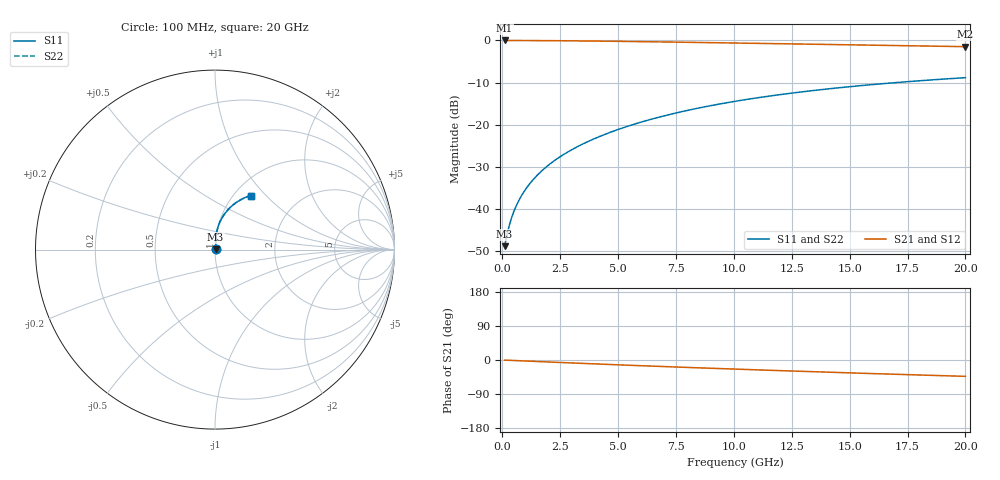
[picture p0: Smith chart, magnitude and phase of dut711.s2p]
! Touchstone file exported from HFSS 2024.1.0
!  File:  C:/UserFiles/LocalFiles/RDL_TSV_Batchsim/temp_RDL_bottom_711_1779858022.aedt
!  Generated:  01:03:13 PM May 27, 2026
!  Design:  RDL_bottom
!  Project:  temp_RDL_bottom_711_1779858022
!  Setup:  Setup1
!  Solution:  Sweep
! Variables:
!  dtsv = 10.80580581um
!  hbump = 3um
!  htsv = 96.74um
!  ldown = 607.72um
!  lrdl = 100um
!  p = 40
!  p1 = 53.82um
!  rhole = 1um
!  t = 450um
!  tdown = 2.89um
!  trdl = 3.915915916um
!  wdown = 26.15um
!  wrdl = 20um
# GHz S MA R 50.000000
! Terminal data exported
! Port[1] = RDL1_T1
! Port[2] = RDL1_T2
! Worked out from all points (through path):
!   200 points, 100 MHz to 20 GHz, reference 50 ohm
!   highest |S21| = -0.03 dB at 100 MHz (marker M1); lowest = -1.5 dB at 20 GHz (marker M2)
!   group delay of S21, straight-line fit = 5.94 ps
!   lowest |S11| = -48.8 dB at 100 MHz (marker M3), VSWR 1.01, Z = 50.3 + j0.188 ohm
!   |S11| at or under -10 dB: start of sweep to 17.02 GHz
!   |S22| runs from -48.8 to -8.8 dB; largest |S21 - S12| = 5e-15
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0.1  0.003638 30.9  0.9969 -0.3  0.9969 -0.3  0.003638 30.9
! Gamma 0 0 0 0
! Port Impedance 50 0 50 0
0.2  0.004912 48.3  0.9967 -0.6  0.9967 -0.6  0.004912 48.3
0.3  0.006382 57.4  0.9965 -0.8  0.9965 -0.8  0.006382 57.4
0.4  0.007887 62.9  0.9962 -1.1  0.9962 -1.1  0.007887 62.9
0.5  0.009395 66.7  0.996 -1.4  0.996 -1.4  0.009395 66.7
0.6  0.01091 69.6  0.9958 -1.6  0.9958 -1.6  0.01091 69.6
0.8  0.01397 73.7  0.9954 -2.1  0.9954 -2.1  0.01397 73.7
1.1  0.01865 77.6  0.9947 -2.9  0.9947 -2.9  0.01865 77.6
1.3  0.02183 79.4  0.9941 -3.4  0.9941 -3.4  0.02183 79.4
1.6  0.02669 81.3  0.9932 -4.2  0.9932 -4.2  0.02669 81.3
2.1  0.03499 83.3  0.9913 -5.5  0.9913 -5.5  0.03499 83.3
2.7  0.04528 84.6  0.9885 -7.1  0.9885 -7.1  0.04528 84.6
3.5  0.05953 85.4  0.984 -9.1  0.984 -9.1  0.05953 85.4
4.2  0.0725 85.4  0.9793 -10.8  0.9793 -10.8  0.0725 85.4
5  0.0878 85.0  0.9734 -12.8  0.9734 -12.8  0.0878 85.0
6.8  0.1236 82.8  0.9587 -17.0  0.9587 -17.0  0.1236 82.8
8.4  0.1561 80.0  0.9447 -20.5  0.9447 -20.5  0.1561 80.0
10.1  0.1904 76.6  0.9295 -24.2  0.9295 -24.2  0.1903 76.6
11.7  0.2218 73.3  0.915 -27.5  0.915 -27.5  0.2217 73.3
13.4  0.2538 69.7  0.8997 -30.9  0.8997 -30.9  0.2537 69.7
16.7  0.311 62.9  0.8703 -37.2  0.8703 -37.2  0.3109 62.9
20  0.3611 56.5  0.8416 -43.2  0.8416 -43.2  0.3611 56.5
